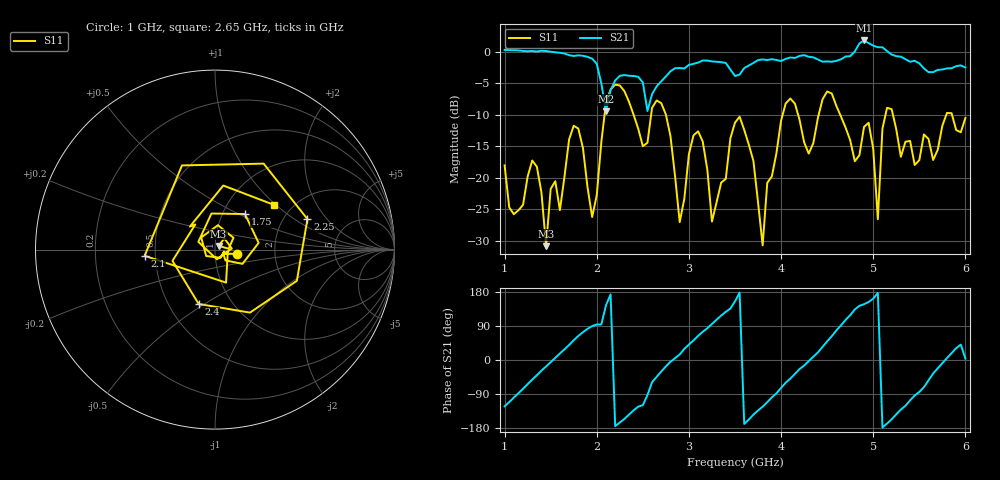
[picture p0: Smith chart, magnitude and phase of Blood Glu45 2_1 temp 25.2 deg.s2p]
! NanoVNA-App
! Date: 2024-03-20 20:55:39
! Start: 1GHz Stop: 6GHz Points: 101
! S-Parameter data: F S11 S21 S12 S22
# Hz S RI R 50
!	Frequency	S11_Real	S11_Imag	S21_Real	S21_Imag	S12_Real	S12_Imag	S22_Real	S22_Imag
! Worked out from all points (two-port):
!   101 points, 1 GHz to 6 GHz, reference 50 ohm
!   highest |S21| = 1.84 dB at 4.9 GHz (marker M1); lowest = -9.4 dB at 2.1 GHz (marker M2)
!   |S21| within 3 dB of the highest: start of sweep to 1.957 GHz; 4.65 GHz to 5.352 GHz (702.3 MHz wide, 14 % of centre)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
!   lowest |S11| = -30.9 dB at 1.45 GHz (marker M3), VSWR 1.06, Z = 51.9 + j2.16 ohm
!   |S11| at or under -10 dB: start of sweep to 2.085 GHz; 2.751 GHz to 4.017 GHz (1.266 GHz wide, 37.4 % of centre); 5.214 GHz to 5.793 GHz (578.5 MHz wide, 10.5 % of centre)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
!   S12 and S22 are empty: the file has one direction only
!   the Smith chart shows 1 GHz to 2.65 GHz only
!   S11 on the Smith chart (normalised r, x): 1 GHz: 1.28, -0.06; 1.75 GHz: 1.27, +0.54; 2.1 GHz: 0.44, -0.04; 2.25 GHz: 2.67, +1.29; 2.4 GHz: 0.70, -0.47; 2.65 GHz: 1.61, +0.97
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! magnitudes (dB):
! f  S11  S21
! 1 GHz  -18.0  0.3
! 1.35 GHz  -18.3  0.1
! 1.45 GHz  -30.9  0.2
! 1.75 GHz  -11.7  -0.6
! 1.85 GHz  -15.3  -0.6
! 1.95 GHz  -26.3  -1.1
! 2.1 GHz  -8.1  -9.4
! 2.25 GHz  -5.3  -3.8
! 2.4 GHz  -10.0  -3.8
! 2.65 GHz  -7.7  -5.5
! 2.7 GHz  -8.1  -4.7
! 2.9 GHz  -27.1  -2.6
! 3.05 GHz  -13.3  -1.9
! 3.25 GHz  -27.0  -1.5
! 3.5 GHz  -11.2  -3.8
! 3.8 GHz  -30.8  -1.2
! 4.05 GHz  -8.2  -1.1
! 4.35 GHz  -14.5  -0.8
! 4.9 GHz  -11.9  1.8
! 5.05 GHz  -26.6  0.8
! 5.2 GHz  -9.1  -0.4
! 6 GHz  -10.5  -2.5
